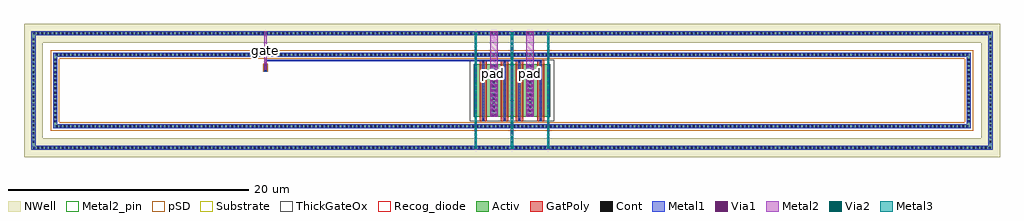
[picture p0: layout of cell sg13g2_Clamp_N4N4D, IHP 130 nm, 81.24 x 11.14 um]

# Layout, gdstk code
import gdstk
lib = gdstk.Library(unit=1e-6, precision=1e-09)
def R(c, l, rs):  # rectangles x0, y0, x1, y1
    for r in rs: c.add(gdstk.rectangle(r[:2], r[2:], *l))
def A(c, l, x, y, w, h, nx, ny, dx, dy):  # array of equal rectangles
    R(c, l, [(x+i*dx, y+j*dy, x+i*dx+w, y+j*dy+h) for i in range(nx) for j in range(ny)])
def P(c, l, *ps):  # polygons
    for p in ps: c.add(gdstk.Polygon(p, *l))
Activ = (1, 0)
GatPoly = (5, 0)
Cont = (6, 0)
Metal1 = (8, 0)
Metal2 = (10, 0)
Metal2_pin = (10, 2)
pSD = (14, 0)
Via1 = (19, 0)
Via2 = (29, 0)
Metal3 = (30, 0)
NWell = (31, 0)
Substrate = (40, 0)
ThickGateOx = (44, 0)
Recog_diode = (99, 31)

sg13g2_guardring_n16000w = lib.new_cell('sg13g2_GuardRing_N16000W1980HFF')
P(sg13g2_guardring_n16000w, Activ, [(-40,-4.95),(-40,4.61),(-39.66,4.61),(-39.66,-4.61),(39.66,-4.61),(39.66,4.61),(-40,4.61),(-40,4.95),(40,4.95),(40,-4.95)])
A(sg13g2_guardring_n16000w, Cont, -39.86, -4.86, 0.16, 0.16, 235, 2, 0.34, 9.56)
A(sg13g2_guardring_n16000w, Cont, -39.91, -4.33, 0.16, 0.16, 1, 26, 0, 0.34)
A(sg13g2_guardring_n16000w, Cont, 39.75, -4.33, 0.16, 0.16, 1, 26, 0, 0.34)
P(sg13g2_guardring_n16000w, Metal1, [(-40,-4.95),(-40,4.61),(-39.66,4.61),(-39.66,-4.61),(39.66,-4.61),(39.66,4.61),(-40,4.61),(-40,4.95),(40,4.95),(40,-4.95)])
P(sg13g2_guardring_n16000w, NWell, [(-40.62,-5.57),(-40.62,3.99),(-39.04,3.99),(-39.04,-3.99),(39.04,-3.99),(39.04,3.99),(-40.62,3.99),(-40.62,5.57),(40.62,5.57),(40.62,-5.57)])

sg13g2_guardring_p15280w = lib.new_cell('sg13g2_GuardRing_P15280W1260HFF')
P(sg13g2_guardring_p15280w, Activ, [(-38.2,-3.15),(-38.2,2.81),(-37.86,2.81),(-37.86,-2.81),(37.86,-2.81),(37.86,2.81),(-38.2,2.81),(-38.2,3.15),(38.2,3.15),(38.2,-3.15)])
A(sg13g2_guardring_p15280w, Cont, -37.99, -3.06, 0.16, 0.16, 224, 2, 0.34, 5.96)
A(sg13g2_guardring_p15280w, Cont, -38.11, -2.63, 0.16, 0.16, 1, 16, 0, 0.34)
A(sg13g2_guardring_p15280w, Cont, 37.95, -2.63, 0.16, 0.16, 1, 16, 0, 0.34)
P(sg13g2_guardring_p15280w, Metal1, [(-38.2,-3.15),(-38.2,2.81),(-37.86,2.81),(-37.86,-2.81),(37.86,-2.81),(37.86,2.81),(-38.2,2.81),(-38.2,3.15),(38.2,3.15),(38.2,-3.15)])
P(sg13g2_guardring_p15280w, pSD, [(-38.38,-3.33),(-38.38,2.63),(-37.68,2.63),(-37.68,-2.63),(37.68,-2.63),(37.68,2.63),(-38.38,2.63),(-38.38,3.33),(38.38,3.33),(38.38,-3.33)])
P(sg13g2_guardring_p15280w, Substrate, [(-38.2,-3.15),(-38.2,2.81),(-37.86,2.81),(-37.86,-2.81),(37.86,-2.81),(37.86,2.81),(-38.2,2.81),(-38.2,3.15),(38.2,3.15),(38.2,-3.15)])
sg13g2_guardring_p15280w.add(gdstk.Label('sub!', (-38.03,-2.98), layer=63, texttype=0))

sg13g2_clamp_n4n4d = lib.new_cell('sg13g2_Clamp_N4N4D')
R(sg13g2_clamp_n4n4d, Activ, [(36.83,2.75,43.17,7.15), (19.335,6.51,19.635,7.15)])
R(sg13g2_clamp_n4n4d, GatPoly, [(37.3,2.38,37.9,7.52), (39.08,2.38,39.68,7.52), (40.32,2.38,40.92,7.52), (42.1,2.38,42.7,7.52)])
A(sg13g2_clamp_n4n4d, Cont, 36.9, 2.83, 0.16, 0.16, 5, 13, 1.51, 0.34)
R(sg13g2_clamp_n4n4d, Cont, [(37.52,2.45,37.68,2.61), (39.3,2.45,39.46,2.61), (40.54,2.45,40.7,2.61), (42.32,2.45,42.48,2.61), (19.405,6.58,19.565,6.74), (19.405,6.92,19.565,7.08), (37.52,7.29,37.68,7.45), (39.3,7.29,39.46,7.45), (40.54,7.29,40.7,7.45), (42.32,7.29,42.48,7.45)])
A(sg13g2_clamp_n4n4d, Metal1, 36.875, 1.8, 0.21, 0.34, 3, 2, 3.02, 5.96)
A(sg13g2_clamp_n4n4d, Metal1, 36.875, 2.75, 0.21, 4.4, 3, 1, 3.02, 0)
R(sg13g2_clamp_n4n4d, Metal1, [(38.18,2.75,38.8,7.15), (41.2,2.75,41.82,7.15)])
P(sg13g2_clamp_n4n4d, Metal1, [(37.52,2.37),(37.52,7.37),(19.59,7.37),(19.59,6.5),(19.38,6.5),(19.38,7.53),(42.48,7.53),(42.48,2.37),(42.32,2.37),(42.32,7.37),(40.7,7.37),(40.7,2.37),(40.54,2.37),(40.54,7.37),(39.46,7.37),(39.46,2.37),(39.3,2.37),(39.3,7.37),(37.68,7.37),(37.68,2.37)])
A(sg13g2_clamp_n4n4d, Metal2, 36.88, 0, 0.2, 9.9, 3, 1, 3.02, 0)
R(sg13g2_clamp_n4n4d, Metal2, [(38.185,2.755,38.795,9.9), (41.205,2.755,41.815,9.9), (19.385,6.665,19.585,9.9)])
R(sg13g2_clamp_n4n4d, Metal2_pin, [(38.185,2.755,38.795,9.9), (41.205,2.755,41.815,9.9), (19.385,6.665,19.585,9.9)])
A(sg13g2_clamp_n4n4d, Via1, 36.885, 1.875, 0.19, 0.19, 3, 2, 3.02, 5.96)
A(sg13g2_clamp_n4n4d, Via1, 36.885, 2.805, 0.19, 0.19, 1, 11, 0, 0.41)
A(sg13g2_clamp_n4n4d, Via1, 38.19, 2.805, 0.19, 0.19, 1, 11, 0, 0.41)
A(sg13g2_clamp_n4n4d, Via1, 38.6, 2.805, 0.19, 0.19, 3, 11, 1.305, 0.41)
A(sg13g2_clamp_n4n4d, Via1, 41.62, 2.805, 0.19, 0.19, 1, 11, 0, 0.41)
A(sg13g2_clamp_n4n4d, Via1, 42.925, 2.805, 0.19, 0.19, 1, 11, 0, 0.41)
R(sg13g2_clamp_n4n4d, Via1, [(19.39,6.715,19.58,6.905), (19.39,7.125,19.58,7.315)])
A(sg13g2_clamp_n4n4d, Via2, 36.885, 0.14, 0.19, 0.19, 3, 24, 3.02, 0.41)
A(sg13g2_clamp_n4n4d, Metal3, 36.88, 0.09, 0.2, 9.72, 3, 1, 3.02, 0)
R(sg13g2_clamp_n4n4d, ThickGateOx, [(36.49,2.41,43.51,7.49)])
R(sg13g2_clamp_n4n4d, Recog_diode, [(19.315,6.49,19.655,7.17)])
sg13g2_clamp_n4n4d.add(gdstk.Reference(sg13g2_guardring_n16000w, (40,4.95)))
sg13g2_clamp_n4n4d.add(gdstk.Reference(sg13g2_guardring_p15280w, (40,4.95)))
sg13g2_clamp_n4n4d.add(gdstk.Label('pad', (38.49,6.328), layer=10, texttype=25))
sg13g2_clamp_n4n4d.add(gdstk.Label('pad', (41.51,6.328), layer=10, texttype=25))
sg13g2_clamp_n4n4d.add(gdstk.Label('gate', (19.485,8.282), layer=10, texttype=25))

lib.write_gds('sg13g2_Clamp_N4N4D.gds')
